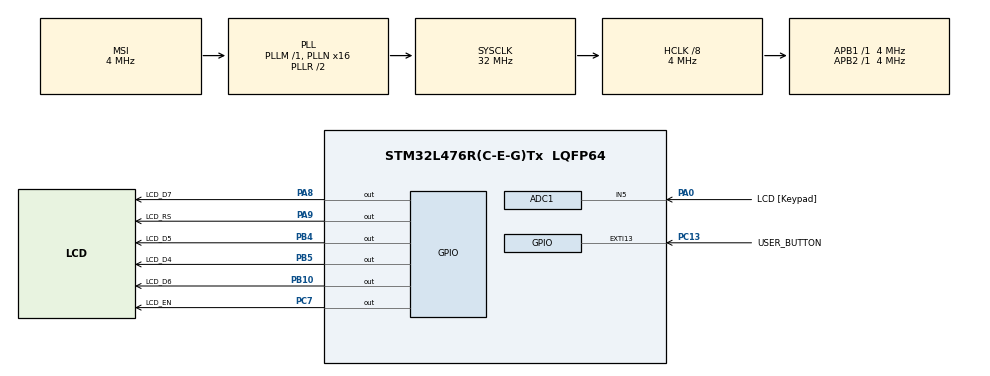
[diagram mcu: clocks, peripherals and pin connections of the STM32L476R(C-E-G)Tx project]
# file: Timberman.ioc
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ADC1.Channel-0\#ChannelRegularConversion=ADC_CHANNEL_5
ADC1.NbrOfConversionFlag=1
ADC1.OffsetNumber-0\#ChannelRegularConversion=ADC_OFFSET_NONE
ADC1.Rank-0\#ChannelRegularConversion=1
ADC1.SamplingTime-0\#ChannelRegularConversion=ADC_SAMPLETIME_2CYCLES_5
ADC1.master=1
Mcu.Family=STM32L4
Mcu.Name=STM32L476R(C-E-G)Tx
Mcu.Package=LQFP64
NVIC.EXTI15_10_IRQn=true\:0\:0\:false\:false\:true\:true\:true\:true
NVIC.PriorityGroup=NVIC_PRIORITYGROUP_4
PA0.GPIO_Label=LCD [Keypad]
PA0.Signal=ADCx_IN5
PA8.GPIO_Label=LCD_D7
PA8.Signal=GPIO_Output
PA9.GPIO_Label=LCD_RS
PA9.Signal=GPIO_Output
PB10.GPIO_Label=LCD_D6
PB10.Signal=GPIO_Output
PB4\ (NJTRST).GPIO_Label=LCD_D5
PB4\ (NJTRST).Signal=GPIO_Output
PB5.GPIO_Label=LCD_D4
PB5.Signal=GPIO_Output
PC13.GPIO_Label=USER_BUTTON
PC13.Signal=GPXTI13
PC7.GPIO_Label=LCD_EN
PC7.Signal=GPIO_Output
ProjectManager.HeapSize=0x200
ProjectManager.StackSize=0x400
ProjectManager.TargetToolchain=STM32CubeIDE
RCC.ADCFreq_Value=32000000
RCC.AHBCLKDivider=RCC_SYSCLK_DIV8
RCC.AHBFreq_Value=4000000
RCC.APB1Freq_Value=4000000
RCC.APB1TimFreq_Value=4000000
RCC.APB2Freq_Value=4000000
RCC.APB2TimFreq_Value=4000000
RCC.CortexFreq_Value=4000000
RCC.HCLKFreq_Value=4000000
RCC.HSE_VALUE=8000000
RCC.HSI_VALUE=16000000
RCC.LSE_VALUE=32768
RCC.MSI_VALUE=4000000
RCC.PLLN=16
RCC.PLLSAI1N=16
RCC.SYSCLKFreq_VALUE=32000000
RCC.SYSCLKSource=RCC_SYSCLKSOURCE_PLLCLK
RCC.USBFreq_Value=32000000
RCC.VCOOutputFreq_Value=64000000
RTC.Alarm-Alarm\ A=RTC_ALARM_A
RTC.AlarmMaskDateWeekDay-Alarm\ A=RTC_ALARMMASK_DATEWEEKDAY
RTC.AlarmMaskHours-Alarm\ A=RTC_ALARMMASK_HOURS
RTC.AlarmMaskMinutes-Alarm\ A=RTC_ALARMMASK_MINUTES
SH.ADCx_IN5.0=ADC1_IN5,IN5-Single-Ended
VP_RTC_VS_RTC_Activate.Mode=RTC_Enabled
VP_RTC_VS_RTC_Alarm_A_Intern.Mode=Alarm A
VP_RTC_VS_RTC_Calendar.Mode=RTC_Calendar
board=custom

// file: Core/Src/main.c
/* USER CODE BEGIN Header */
/**
 ******************************************************************************
 * @file           : main.c
 * @brief          : Main program body
 ******************************************************************************
 * @attention
 *
 * Copyright (c) 2023 STMicroelectronics.
 * All rights reserved.
 *
 * This software is licensed under terms that can be found in the LICENSE file
 * in the root directory of this software component.
 * If no LICENSE file comes with this software, it is provided AS-IS.
 *
 ******************************************************************************
 */
/* USER CODE END Header */
#include "main.h"

/* USER CODE BEGIN Includes */
#include "lcd.h"
#include "LCD_Keypad.h"
#include <stdio.h>
#include <ctype.h>
#include <stdio.h>
#include <stdint.h>
#include <string.h>
#include <stdbool.h>
#include <time.h>
#include <stdlib.h>
/* USER CODE END Includes */

ADC_HandleTypeDef hadc1;

RTC_HandleTypeDef hrtc;

/* USER CODE BEGIN PV */
uint16_t value;
/* USER CODE END PV */

void SystemClock_Config(void);
static void MX_GPIO_Init(void);
static void MX_ADC1_Init(void);
static void MX_RTC_Init(void);

/* USER CODE BEGIN 0 */

// -------------------------------------------------------- Variables --------------------------------------------------------
int score = 0;
int highScore = 0;
char scoreText[16] = "";
RTC_TimeTypeDef newTime;
RTC_TimeTypeDef currentTime;
RTC_DateTypeDef date;
// ---------------------------------------------------------------------------------------------------------------------------
// ----------------------------------------------------------- Menu ----------------------------------------------------------
void menu() {
	lcd_clear();

	int startCol = (16 - strlen(scoreText)) / 2 + 1;
	bool display = true;

	/* ====== INITIAL DISPLAY ====== */
	sprintf(scoreText, "HScore = %d", highScore);
	lcd_print(1, 4, "Timberman!");
	if (display) {
		lcd_print(2, startCol, scoreText);
	} else if (!display) {
		lcd_print(2, 2, "Start = PRESS");
	}
	HAL_Delay(1500);

	do {
		HAL_Delay(50);

		/* ====== CHECKING IF BUTTON WAS PRESSED ====== */
		HAL_ADC_Start(&hadc1);
		if (HAL_ADC_PollForConversion(&hadc1, 10) == HAL_OK) {
			value = HAL_ADC_GetValue(&hadc1);

			/* ====== CHECKING IF IT IS TIMER TO CHANGE TEXT ====== */
			HAL_RTC_GetDate(&hrtc, &date, RTC_FORMAT_BIN);
			HAL_RTC_GetTime(&hrtc, &currentTime, RTC_FORMAT_BIN);
			if (currentTime.Seconds > 2) {
				display = !display;
				newTime = currentTime;
				newTime.Seconds = 0;
				newTime.SecondFraction = 0;
				newTime.SubSeconds = 0;
				HAL_RTC_SetTime(&hrtc, &newTime, RTC_FORMAT_BIN);
				lcd_clear();
			}

			/* ====== DISPLAYIN TEXT ====== */
			lcd_print(1, 4, "Timberman!");
			if (display) {
				lcd_print(2, startCol, scoreText);
			} else if (!display) {
				lcd_print(2, 2, "Start = PRESS");
			}
		}
	} while (value > 4000);
}
// ---------------------------------------------------------------------------------------------------------------------------
// ----------------------------------------------------------- Game ----------------------------------------------------------
void game() {
	lcd_clear();

	score = 0;
	int randomNumber;
	int display[2][6];
	bool isAlive = true;
	bool canGo = true;

	/* ====== GENERATE TREE AT THE START ====== */
	for (int i = 0; i < 5; i++) {
		randomNumber = rand() % 100;
		if (randomNumber % 2 == 0) {
			display[0][i] = 4; // set right part of tree on height i to branch
			display[1][i] = 7; // set left part of tree on height i to log
		} else {
			display[0][i] = 6; // set right part of tree on height i to log
			display[1][i] = 5; // set left part of tree on height i to branch
		}
	}
	display[0][5] = 2; // set right part of tree at the bottom to right man
	display[1][5] = 7; // set left part of tree at the bottom to log

	/* ====== DISPLAY STATIC CHARACTERS ====== */
	sprintf(scoreText, "%d", score);
	lcd_print(1, 1, "SCORE:");
	lcd_print(2, 1, scoreText);
	lcd_print(1, 16, "|");
	lcd_print(2, 16, "|");
	for (int i = 0; i < 2; i++) {
		for (int j = 0; j < 6; j++) {
			lcd_gotoxy(i + 1, j + 10);
			lcd_char_cp(display[i][j]);
		}
	}

	/* ====== MAIN GAME LOOP ====== */
	while (isAlive) {
		HAL_Delay(50);

		/* ====== ALLOWING TO CHOP THE TREE AFTER 1 SECOND ====== */
		HAL_RTC_GetDate(&hrtc, &date, RTC_FORMAT_BIN);
		HAL_RTC_GetTime(&hrtc, &currentTime, RTC_FORMAT_BIN);
		if (currentTime.Seconds > 0 && !canGo) {
			canGo = true;
			newTime = currentTime;
			newTime.Seconds = 0;
			newTime.SecondFraction = 0;
			newTime.SubSeconds = 0;
			HAL_RTC_SetTime(&hrtc, &newTime, RTC_FORMAT_BIN);
		}

		/* ====== CHOPING THE TREE IF ALLOWED ====== */
		if (canGo) {
			HAL_ADC_Start(&hadc1);
			if (HAL_ADC_PollForConversion(&hadc1, 10) == HAL_OK) {
				value = HAL_ADC_GetValue(&hadc1);
				canGo = false;

				/* ====== MOVE PLAYER TO THE SIDE ====== */
				if (value > 700 && value < 820) { // move player to the right
					display[0][5] = 0;
					display[1][5] = 7;
					lcd_gotoxy(1, 15);
					lcd_char_cp(display[0][5]);
					lcd_gotoxy(2, 15);
					lcd_char_cp(display[1][5]);
				} else if (value > 1800 && value < 1920) { // move player to the left
					display[0][5] = 6;
					display[1][5] = 1;
					lcd_gotoxy(1, 15);
					lcd_char_cp(display[0][5]);
					lcd_gotoxy(2, 15);
					lcd_char_cp(display[1][5]);
				}

				if ((value > 700 && value < 820)
						|| (value > 1800 && value < 1920)) {
					/* ====== LOOSING CONDITION ====== */
					if (display[0][5] == 0 && display[0][4] == 4)
						isAlive = false;
					else if (display[1][5] == 1 && display[1][4] == 5)
						isAlive = false;
					else
						score++;
					/* ====== MOVING BOTTOM PART OF THE TREE DOWN ====== */
					if (display[0][5] == 0) {
						display[0][5] = 2;
						display[1][5] = display[1][4];
					} else if (display[1][5] == 1) {
						display[1][5] = 3;
						display[0][5] = display[0][4];
					}

					/* ====== MOVING MIDDLE PART OF TREE DOWN ====== */
					for (int i = 4; i > 0; i--) {
						display[0][i] = display[0][i - 1]; // move right part of the tree down by 1
						display[1][i] = display[1][i - 1]; // move left part of the tree down by 1
					}

					/* ====== GENERATING TOP OF THE TREE ====== */
					randomNumber = rand() % 100;
					if (randomNumber % 2 == 0) {
						display[0][0] = 4; // set right part of tree on height i to branch
						display[1][0] = 7; // set left part of tree on height i to log
					} else {
						display[0][0] = 6; // set right part of tree on height i to log
						display[1][0] = 5; // set left part of tree on height i to branch
					}

					/* ====== DISPLAYING EVERYTHING ====== */
					HAL_Delay(300);

					lcd_clear();
					sprintf(scoreText, "%d", score);
					lcd_print(1, 1, "SCORE:");
					lcd_print(2, 1, scoreText);
					lcd_print(1, 16, "|");
					lcd_print(2, 16, "|");
					for (int i = 0; i < 2; i++) {
						for (int j = 0; j < 6; j++) {
							lcd_gotoxy(i + 1, j + 10);
							lcd_char_cp(display[i][j]);
						}
					}
				}
			}
		}
	}
}
// ---------------------------------------------------------------------------------------------------------------------------
// ----------------------------------------------------- Game over screen ----------------------------------------------------
void gameOver() {
	lcd_clear();

	int startCol = (16 - strlen(scoreText)) / 2 + 1;
	bool display = true;

	/* ====== INITIAL DISPLAY ====== */
	sprintf(scoreText, "Score = %d", score);
	if (display) {
		lcd_print(1, startCol, scoreText);
	} else if (!display) {
		lcd_print(1, 3, "Game Over :(");
	}
	lcd_print(2, 3, "Menu = PRESS");
	HAL_Delay(1500);

	do {
		HAL_Delay(50);

		/* ====== CHECKING IF BUTTON WAS PRESSED ====== */
		HAL_ADC_Start(&hadc1);
		if (HAL_ADC_PollForConversion(&hadc1, 10) == HAL_OK) {
			value = HAL_ADC_GetValue(&hadc1);

			/* ====== CHECKING IF IT IS TIMER TO CHANGE TEXT ====== */
			HAL_RTC_GetDate(&hrtc, &date, RTC_FORMAT_BIN);
			HAL_RTC_GetTime(&hrtc, &currentTime, RTC_FORMAT_BIN);
			if (currentTime.Seconds > 2) {
				display = !display;
				newTime = currentTime;
				newTime.Seconds = 0;
				newTime.SecondFraction = 0;
				newTime.SubSeconds = 0;
				HAL_RTC_SetTime(&hrtc, &newTime, RTC_FORMAT_BIN);
				lcd_clear();
			}

			/* ====== DISPLAYIN TEXT ====== */
			if (display) {
				lcd_print(1, startCol, scoreText);
			} else if (!display) {
				lcd_print(1, 3, "Game Over :(");
			}
			lcd_print(2, 3, "Menu = PRESS");
		}
	} while (value > 4000);

	/* ====== UPDATE HIGHSCORE IF NEEDED ====== */
	if (highScore < score)
		highScore = score;
}
// ----------------------------------------------------------------------------------------------------------------------------
/* USER CODE END 0 */

int main(void) {
	/* USER CODE BEGIN 1 */
	// ----------------------------------------------------- Custom characters variables ----------------------------------------------------
	char rightManHit[] = { 0x00, 0x00, 0x1F, 0x1D, 0x04, 0x04, 0x1F, 0x1F };
	char leftManHit[] = { 0x1F, 0x1F, 0x04, 0x04, 0x1D, 0x1F, 0x00, 0x00 };

	char rightMan[] = { 0x00, 0x00, 0x1F, 0x1D, 0x04, 0x00, 0x1F, 0x1F };
	char leftMan[] = { 0x1F, 0x1F, 0x00, 0x04, 0x1D, 0x1F, 0x00, 0x00 };

	char branchRight[] = { 0x00, 0x02, 0x02, 0x02, 0x02, 0x03, 0x1F, 0x1F };
	char branchLeft[] = { 0x1F, 0x1F, 0x03, 0x02, 0x02, 0x02, 0x02, 0x00 };

	char logRight[] = { 0x00, 0x00, 0x00, 0x00, 0x00, 0x00, 0x1F, 0x1F };
	char logLeft[] = { 0x1F, 0x1F, 0x00, 0x00, 0x00, 0x00, 0x00, 0x00 };
	// ---------------------------------------------------------------------------------------------------------------------------------------

	/* USER CODE END 1 */

	/* MCU Configuration--------------------------------------------------------*/

	/* Reset of all peripherals, Initializes the Flash interface and the Systick. */
	HAL_Init();

	/* USER CODE BEGIN Init */

	// ---------------------------------------------------- Initialization of LCD screen -----------------------------------------------------
	lcd_init(_LCD_4BIT, _LCD_FONT_5x8, _LCD_2LINE);
	// ---------------------------------------------------------------------------------------------------------------------------------------

	KPAD_init(&hadc1);
	/* USER CODE END Init */

	/* Configure the system clock */
	SystemClock_Config();

	/* Initialize all configured peripherals */
	MX_GPIO_Init();
	MX_ADC1_Init();
	MX_RTC_Init();
	/* USER CODE BEGIN 2 */
	// ------------------------------------------------ Assigning custom characters to memory ------------------------------------------------
	lcd_cmd(0x40);
	for (int i = 0; i < 8; i++)
		lcd_char_cp(rightManHit[i]);
	lcd_cmd(0x40 + 8);
	for (int i = 0; i < 8; i++)
		lcd_char_cp(leftManHit[i]);
	lcd_cmd(0x40 + 16);
	for (int i = 0; i < 8; i++)
		lcd_char_cp(rightMan[i]);
	lcd_cmd(0x40 + 24);
	for (int i = 0; i < 8; i++)
		lcd_char_cp(leftMan[i]);
	lcd_cmd(0x40 + 32);
	for (int i = 0; i < 8; i++)
		lcd_char_cp(branchRight[i]);
	lcd_cmd(0x40 + 40);
	for (int i = 0; i < 8; i++)
		lcd_char_cp(branchLeft[i]);
	lcd_cmd(0x40 + 48);
	for (int i = 0; i < 8; i++)
		lcd_char_cp(logRight[i]);
	lcd_cmd(0x40 + 56);
	for (int i = 0; i < 8; i++)
		lcd_char_cp(logLeft[i]);
	lcd_cmd(0x80);
	// ---------------------------------------------------------------------------------------------------------------------------------------
	/*
	 lcd_gotoxy(1, 1);
	 lcd_char_cp(0); // right man hit

	 lcd_gotoxy(2, 1);
	 lcd_char_cp(1); // left  man hit

	 lcd_gotoxy(1, 2);
	 lcd_char_cp(2); // right man

	 lcd_gotoxy(2, 2);
	 lcd_char_cp(3); // left  man

	 lcd_gotoxy(1, 3);
	 lcd_char_cp(4); // branch right

	 lcd_gotoxy(2, 3);
	 lcd_char_cp(5); // branch left

	 lcd_gotoxy(1, 4);
	 lcd_char_cp(6); // log right

	 lcd_gotoxy(2, 4);
	 lcd_char_cp(7); // log left
	 */
	/* USER CODE END 2 */

	/* Infinite loop */
	/* USER CODE BEGIN WHILE */

	//lcd_print(1, 1, "Test line 1");
	//lcd_print(2, 1, "Test line 2");
	while (1) {
		/* USER CODE END WHILE */

		/* USER CODE BEGIN 3 */
		menu();
		game();
		gameOver();
	}
	/* USER CODE END 3 */
}

void SystemClock_Config(void) {
	RCC_OscInitTypeDef RCC_OscInitStruct = { 0 };
	RCC_ClkInitTypeDef RCC_ClkInitStruct = { 0 };

	/** Configure the main internal regulator output voltage
	 */
	if (HAL_PWREx_ControlVoltageScaling(PWR_REGULATOR_VOLTAGE_SCALE1)
			!= HAL_OK) {
		Error_Handler();
	}

	/** Initializes the RCC Oscillators according to the specified parameters
	 * in the RCC_OscInitTypeDef structure.
	 */
	RCC_OscInitStruct.OscillatorType = RCC_OSCILLATORTYPE_LSI
			| RCC_OSCILLATORTYPE_MSI;
	RCC_OscInitStruct.LSIState = RCC_LSI_ON;
	RCC_OscInitStruct.MSIState = RCC_MSI_ON;
	RCC_OscInitStruct.MSICalibrationValue = 0;
	RCC_OscInitStruct.MSIClockRange = RCC_MSIRANGE_6;
	RCC_OscInitStruct.PLL.PLLState = RCC_PLL_ON;
	RCC_OscInitStruct.PLL.PLLSource = RCC_PLLSOURCE_MSI;
	RCC_OscInitStruct.PLL.PLLM = 1;
	RCC_OscInitStruct.PLL.PLLN = 16;
	RCC_OscInitStruct.PLL.PLLP = RCC_PLLP_DIV7;
	RCC_OscInitStruct.PLL.PLLQ = RCC_PLLQ_DIV2;
	RCC_OscInitStruct.PLL.PLLR = RCC_PLLR_DIV2;
	if (HAL_RCC_OscConfig(&RCC_OscInitStruct) != HAL_OK) {
		Error_Handler();
	}

	/** Initializes the CPU, AHB and APB buses clocks
	 */
	RCC_ClkInitStruct.ClockType = RCC_CLOCKTYPE_HCLK | RCC_CLOCKTYPE_SYSCLK
			| RCC_CLOCKTYPE_PCLK1 | RCC_CLOCKTYPE_PCLK2;
	RCC_ClkInitStruct.SYSCLKSource = RCC_SYSCLKSOURCE_PLLCLK;
	RCC_ClkInitStruct.AHBCLKDivider = RCC_SYSCLK_DIV8;
	RCC_ClkInitStruct.APB1CLKDivider = RCC_HCLK_DIV1;
	RCC_ClkInitStruct.APB2CLKDivider = RCC_HCLK_DIV1;

	if (HAL_RCC_ClockConfig(&RCC_ClkInitStruct, FLASH_LATENCY_0) != HAL_OK) {
		Error_Handler();
	}
}

static void MX_ADC1_Init(void) {

	ADC_MultiModeTypeDef multimode = { 0 };
	ADC_ChannelConfTypeDef sConfig = { 0 };

	/** Common config
	 */
	hadc1.Instance = ADC1;
	hadc1.Init.ClockPrescaler = ADC_CLOCK_ASYNC_DIV1;
	hadc1.Init.Resolution = ADC_RESOLUTION_12B;
	hadc1.Init.DataAlign = ADC_DATAALIGN_RIGHT;
	hadc1.Init.ScanConvMode = ADC_SCAN_DISABLE;
	hadc1.Init.EOCSelection = ADC_EOC_SINGLE_CONV;
	hadc1.Init.LowPowerAutoWait = DISABLE;
	hadc1.Init.ContinuousConvMode = DISABLE;
	hadc1.Init.NbrOfConversion = 1;
	hadc1.Init.DiscontinuousConvMode = DISABLE;
	hadc1.Init.ExternalTrigConv = ADC_SOFTWARE_START;
	hadc1.Init.ExternalTrigConvEdge = ADC_EXTERNALTRIGCONVEDGE_NONE;
	hadc1.Init.DMAContinuousRequests = DISABLE;
	hadc1.Init.Overrun = ADC_OVR_DATA_PRESERVED;
	hadc1.Init.OversamplingMode = DISABLE;
	if (HAL_ADC_Init(&hadc1) != HAL_OK) {
		Error_Handler();
	}

	/** Configure the ADC multi-mode
	 */
	multimode.Mode = ADC_MODE_INDEPENDENT;
	if (HAL_ADCEx_MultiModeConfigChannel(&hadc1, &multimode) != HAL_OK) {
		Error_Handler();
	}

	/** Configure Regular Channel
	 */
	sConfig.Channel = ADC_CHANNEL_5;
	sConfig.Rank = ADC_REGULAR_RANK_1;
	sConfig.SamplingTime = ADC_SAMPLETIME_2CYCLES_5;
	sConfig.SingleDiff = ADC_SINGLE_ENDED;
	sConfig.OffsetNumber = ADC_OFFSET_NONE;
	sConfig.Offset = 0;
	if (HAL_ADC_ConfigChannel(&hadc1, &sConfig) != HAL_OK) {
		Error_Handler();
	}

}

static void MX_RTC_Init(void) {

	RTC_TimeTypeDef sTime = { 0 };
	RTC_DateTypeDef sDate = { 0 };
	RTC_AlarmTypeDef sAlarm = { 0 };

	/** Initialize RTC Only
	 */
	hrtc.Instance = RTC;
	hrtc.Init.HourFormat = RTC_HOURFORMAT_24;
	hrtc.Init.AsynchPrediv = 127;
	hrtc.Init.SynchPrediv = 255;
	hrtc.Init.OutPut = RTC_OUTPUT_DISABLE;
	hrtc.Init.OutPutRemap = RTC_OUTPUT_REMAP_NONE;
	hrtc.Init.OutPutPolarity = RTC_OUTPUT_POLARITY_HIGH;
	hrtc.Init.OutPutType = RTC_OUTPUT_TYPE_OPENDRAIN;
	if (HAL_RTC_Init(&hrtc) != HAL_OK) {
		Error_Handler();
	}

	/** Initialize RTC and set the Time and Date
	 */
	sTime.Hours = 0x0;
	sTime.Minutes = 0x0;
	sTime.Seconds = 0x0;
	sTime.DayLightSaving = RTC_DAYLIGHTSAVING_NONE;
	sTime.StoreOperation = RTC_STOREOPERATION_RESET;
	if (HAL_RTC_SetTime(&hrtc, &sTime, RTC_FORMAT_BCD) != HAL_OK) {
		Error_Handler();
	}
	sDate.WeekDay = RTC_WEEKDAY_MONDAY;
	sDate.Month = RTC_MONTH_JANUARY;
	sDate.Date = 0x1;
	sDate.Year = 0x0;

	if (HAL_RTC_SetDate(&hrtc, &sDate, RTC_FORMAT_BCD) != HAL_OK) {
		Error_Handler();
	}

	/** Enable the Alarm A
	 */
	sAlarm.AlarmTime.Hours = 0x0;
	sAlarm.AlarmTime.Minutes = 0x0;
	sAlarm.AlarmTime.Seconds = 0x0;
	sAlarm.AlarmTime.SubSeconds = 0x0;
	sAlarm.AlarmTime.DayLightSaving = RTC_DAYLIGHTSAVING_NONE;
	sAlarm.AlarmTime.StoreOperation = RTC_STOREOPERATION_RESET;
	sAlarm.AlarmMask = RTC_ALARMMASK_DATEWEEKDAY | RTC_ALARMMASK_HOURS
			| RTC_ALARMMASK_MINUTES;
	sAlarm.AlarmSubSecondMask = RTC_ALARMSUBSECONDMASK_ALL;
	sAlarm.AlarmDateWeekDaySel = RTC_ALARMDATEWEEKDAYSEL_DATE;
	sAlarm.AlarmDateWeekDay = 0x1;
	sAlarm.Alarm = RTC_ALARM_A;
	if (HAL_RTC_SetAlarm(&hrtc, &sAlarm, RTC_FORMAT_BCD) != HAL_OK) {
		Error_Handler();
	}

}

static void MX_GPIO_Init(void) {
	GPIO_InitTypeDef GPIO_InitStruct = { 0 };

	/* GPIO Ports Clock Enable */
	__HAL_RCC_GPIOC_CLK_ENABLE();
	__HAL_RCC_GPIOA_CLK_ENABLE();
	__HAL_RCC_GPIOB_CLK_ENABLE();

	/*Configure GPIO pin Output Level */
	HAL_GPIO_WritePin(GPIOB, LCD_D6_Pin | LCD_D5_Pin | LCD_D4_Pin,
			GPIO_PIN_RESET);

	/*Configure GPIO pin Output Level */
	HAL_GPIO_WritePin(LCD_EN_GPIO_Port, LCD_EN_Pin, GPIO_PIN_RESET);

	/*Configure GPIO pin Output Level */
	HAL_GPIO_WritePin(GPIOA, LCD_D7_Pin | LCD_RS_Pin, GPIO_PIN_RESET);

	/*Configure GPIO pin : USER_BUTTON_Pin */
	GPIO_InitStruct.Pin = USER_BUTTON_Pin;
	GPIO_InitStruct.Mode = GPIO_MODE_IT_RISING;
	GPIO_InitStruct.Pull = GPIO_NOPULL;
	HAL_GPIO_Init(USER_BUTTON_GPIO_Port, &GPIO_InitStruct);

	/*Configure GPIO pins : LCD_D6_Pin LCD_D5_Pin LCD_D4_Pin */
	GPIO_InitStruct.Pin = LCD_D6_Pin | LCD_D5_Pin | LCD_D4_Pin;
	GPIO_InitStruct.Mode = GPIO_MODE_OUTPUT_PP;
	GPIO_InitStruct.Pull = GPIO_NOPULL;
	GPIO_InitStruct.Speed = GPIO_SPEED_FREQ_LOW;
	HAL_GPIO_Init(GPIOB, &GPIO_InitStruct);

	/*Configure GPIO pin : LCD_EN_Pin */
	GPIO_InitStruct.Pin = LCD_EN_Pin;
	GPIO_InitStruct.Mode = GPIO_MODE_OUTPUT_PP;
	GPIO_InitStruct.Pull = GPIO_NOPULL;
	GPIO_InitStruct.Speed = GPIO_SPEED_FREQ_LOW;
	HAL_GPIO_Init(LCD_EN_GPIO_Port, &GPIO_InitStruct);

	/*Configure GPIO pins : LCD_D7_Pin LCD_RS_Pin */
	GPIO_InitStruct.Pin = LCD_D7_Pin | LCD_RS_Pin;
	GPIO_InitStruct.Mode = GPIO_MODE_OUTPUT_PP;
	GPIO_InitStruct.Pull = GPIO_NOPULL;
	GPIO_InitStruct.Speed = GPIO_SPEED_FREQ_LOW;
	HAL_GPIO_Init(GPIOA, &GPIO_InitStruct);

	/* EXTI interrupt init*/
	HAL_NVIC_SetPriority(EXTI15_10_IRQn, 0, 0);
	HAL_NVIC_EnableIRQ(EXTI15_10_IRQn);

}

void Error_Handler(void) {
	__disable_irq();
	while (1) {
	}
}
